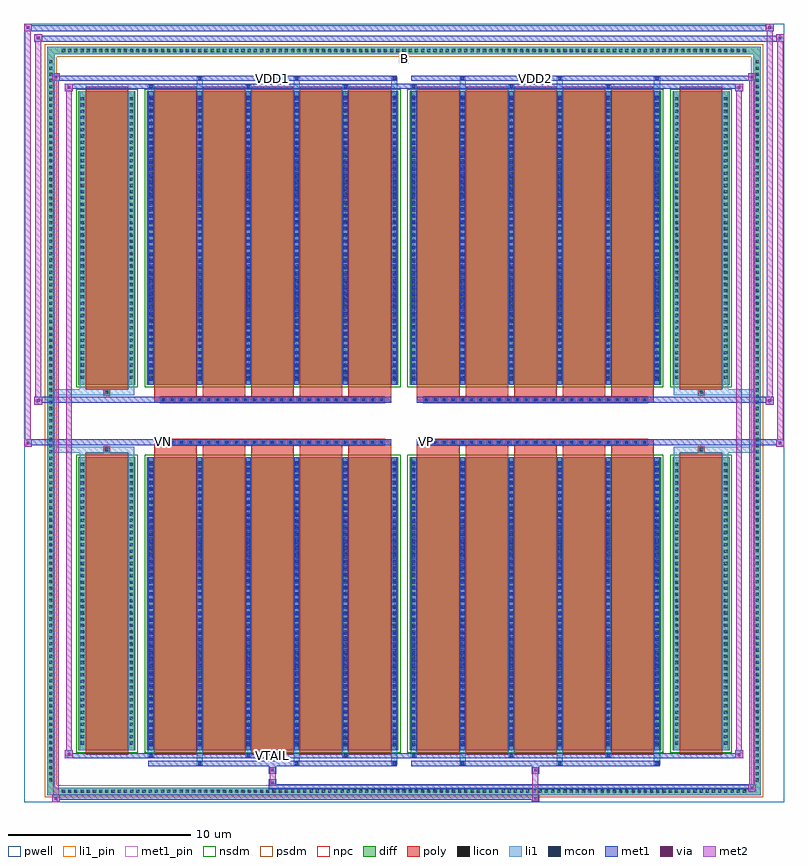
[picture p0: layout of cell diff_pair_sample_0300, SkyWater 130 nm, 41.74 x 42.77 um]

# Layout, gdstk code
import gdstk
lib = gdstk.Library(unit=1e-6, precision=5e-09)
def R(c, l, rs):  # rectangles x0, y0, x1, y1
    for r in rs: c.add(gdstk.rectangle(r[:2], r[2:], *l))
def A(c, l, x, y, w, h, nx, ny, dx, dy):  # array of equal rectangles
    R(c, l, [(x+i*dx, y+j*dy, x+i*dx+w, y+j*dy+h) for i in range(nx) for j in range(ny)])
def P(c, l, *ps):  # polygons
    for p in ps: c.add(gdstk.Polygon(p, *l))
pwell = (64, 44)
diff = (65, 20)
poly = (66, 20)
licon = (66, 44)
li1_pin = (67, 16)
li1 = (67, 20)
mcon = (67, 44)
met1_pin = (68, 16)
met1 = (68, 20)
via = (68, 44)
met2 = (69, 20)
nsdm = (93, 44)
psdm = (94, 20)
npc = (95, 20)

diff_pair_sample_0300 = lib.new_cell('diff_pair_sample_0300')
R(diff_pair_sample_0300, pwell, [(-20.87,-20.95,20.87,21.82), (-18.19,-19.14,-0.01,-0.8), (0.01,-19.14,18.19,-0.8), (-18.19,0.8,-0.01,19.14), (0.01,0.8,18.19,19.14)])
A(diff_pair_sample_0300, diff, -18.905, -20.55, 0.41, 0.41, 111, 2, 0.34, 40.69)
A(diff_pair_sample_0300, diff, -19.6, -19.925, 0.41, 0.41, 1, 117, 0, 0.34)
A(diff_pair_sample_0300, diff, 19.19, -19.925, 0.41, 0.41, 1, 117, 0, 0.34)
R(diff_pair_sample_0300, diff, [(-18.905,-20.55,18.905,-20.14), (-19.6,-19.925,-19.19,19.925), (19.19,-19.925,19.6,19.925), (-17.88,-18.095,-14.76,-1.985), (-14.12,-18.095,-0.32,-1.985), (0.32,-18.095,14.12,-1.985), (14.76,-18.095,17.88,-1.985), (-17.88,1.985,-14.76,18.095), (-14.12,1.985,-0.32,18.095), (0.32,1.985,14.12,18.095), (14.76,1.985,17.88,18.095), (-18.905,20.14,18.905,20.55)])
P(diff_pair_sample_0300, diff, [(19.6,20.55),(-19.6,20.55),(-19.6,-20.14),(-19.19,-20.14),(-19.19,20.14),(19.19,20.14),(19.19,-20.14),(-19.19,-20.14),(-19.6,-20.14),(-19.6,-20.55),(19.6,-20.55)])
A(diff_pair_sample_0300, poly, -13.73, -18.345, 2.34, 16.61, 5, 2, 2.67, 20.08)
A(diff_pair_sample_0300, poly, 0.71, -18.345, 2.34, 16.61, 5, 2, 2.67, 20.08)
A(diff_pair_sample_0300, poly, -13.73, -1.735, 2.34, 0.405, 5, 2, 2.67, 3.065)
A(diff_pair_sample_0300, poly, 0.71, -1.735, 2.34, 0.405, 5, 2, 2.67, 3.065)
A(diff_pair_sample_0300, poly, -13.385, -1.33, 0.33, 0.33, 25, 2, 0.5, 2.33)
A(diff_pair_sample_0300, poly, 1.055, -1.33, 0.33, 0.33, 25, 2, 0.5, 2.33)
R(diff_pair_sample_0300, poly, [(-17.49,-18.345,-15.15,-1.735), (15.15,-18.345,17.49,-1.735), (-16.485,-1.735,-16.155,-1.405), (-16.485,-1.735,-16.155,-1.405), (16.155,-1.735,16.485,-1.405), (16.155,-1.735,16.485,-1.405), (-13.73,-1.33,-0.71,-1), (0.71,-1.33,13.73,-1), (-13.73,1,-0.71,1.33), (0.71,1,13.73,1.33), (-16.485,1.405,-16.155,1.735), (-16.485,1.405,-16.155,1.735), (16.155,1.405,16.485,1.735), (16.155,1.405,16.485,1.735), (-17.49,1.735,-15.15,18.345), (15.15,1.735,17.49,18.345)])
A(diff_pair_sample_0300, licon, -18.785, -20.43, 0.17, 0.17, 111, 2, 0.34, 40.69)
A(diff_pair_sample_0300, licon, -19.48, -19.805, 0.17, 0.17, 1, 117, 0, 0.34)
A(diff_pair_sample_0300, licon, 19.31, -19.805, 0.17, 0.17, 1, 117, 0, 0.34)
A(diff_pair_sample_0300, licon, -17.74, -17.775, 0.17, 0.17, 1, 46, 0, 0.34)
A(diff_pair_sample_0300, licon, -15.07, -17.775, 0.17, 0.17, 1, 46, 0, 0.34)
A(diff_pair_sample_0300, licon, -13.98, -17.775, 0.17, 0.17, 6, 46, 2.67, 0.34)
A(diff_pair_sample_0300, licon, 0.46, -17.775, 0.17, 0.17, 6, 46, 2.67, 0.34)
A(diff_pair_sample_0300, licon, 14.9, -17.775, 0.17, 0.17, 1, 46, 0, 0.34)
A(diff_pair_sample_0300, licon, 17.57, -17.775, 0.17, 0.17, 1, 46, 0, 0.34)
A(diff_pair_sample_0300, licon, -13.305, -1.25, 0.17, 0.17, 25, 2, 0.5, 2.33)
A(diff_pair_sample_0300, licon, 1.135, -1.25, 0.17, 0.17, 25, 2, 0.5, 2.33)
A(diff_pair_sample_0300, licon, -17.74, 2.305, 0.17, 0.17, 1, 46, 0, 0.34)
A(diff_pair_sample_0300, licon, -15.07, 2.305, 0.17, 0.17, 1, 46, 0, 0.34)
A(diff_pair_sample_0300, licon, -13.98, 2.305, 0.17, 0.17, 6, 46, 2.67, 0.34)
A(diff_pair_sample_0300, licon, 0.46, 2.305, 0.17, 0.17, 6, 46, 2.67, 0.34)
A(diff_pair_sample_0300, licon, 14.9, 2.305, 0.17, 0.17, 1, 46, 0, 0.34)
A(diff_pair_sample_0300, licon, 17.57, 2.305, 0.17, 0.17, 1, 46, 0, 0.34)
R(diff_pair_sample_0300, licon, [(-16.405,-1.655,-16.235,-1.485), (16.235,-1.655,16.405,-1.485), (-16.405,1.485,-16.235,1.655), (16.235,1.485,16.405,1.655)])
R(diff_pair_sample_0300, li1_pin, [(-0.25,19.64,0.25,20.14)])
A(diff_pair_sample_0300, li1, -18.865, -20.51, 0.33, 0.33, 111, 2, 0.34, 40.69)
A(diff_pair_sample_0300, li1, -19.56, -19.885, 0.33, 0.33, 1, 117, 0, 0.34)
A(diff_pair_sample_0300, li1, 19.23, -19.885, 0.33, 0.33, 1, 117, 0, 0.34)
A(diff_pair_sample_0300, li1, -11.39, -18.9, 0.33, 0.805, 3, 2, 5.34, 36.995)
A(diff_pair_sample_0300, li1, -11.31, -18.9, 0.17, 0.17, 3, 2, 5.34, 37.63)
A(diff_pair_sample_0300, li1, 3.05, -18.9, 0.33, 0.805, 3, 2, 5.34, 36.995)
A(diff_pair_sample_0300, li1, 3.13, -18.9, 0.17, 0.17, 3, 2, 5.34, 37.63)
A(diff_pair_sample_0300, li1, -14.06, -18.47, 0.33, 0.375, 3, 2, 5.34, 36.565)
A(diff_pair_sample_0300, li1, -13.98, -18.47, 0.17, 0.17, 3, 2, 5.34, 36.77)
A(diff_pair_sample_0300, li1, 0.38, -18.47, 0.33, 0.375, 3, 2, 5.34, 36.565)
A(diff_pair_sample_0300, li1, 0.46, -18.47, 0.17, 0.17, 3, 2, 5.34, 36.77)
A(diff_pair_sample_0300, li1, -14.06, -18.095, 0.33, 16.11, 6, 2, 2.67, 20.08)
A(diff_pair_sample_0300, li1, 0.38, -18.095, 0.33, 16.11, 6, 2, 2.67, 20.08)
A(diff_pair_sample_0300, li1, -13.98, -17.865, 0.17, 0.17, 6, 44, 2.67, 0.36)
A(diff_pair_sample_0300, li1, -13.98, -17.865, 0.17, 15.65, 6, 2, 2.67, 20.08)
A(diff_pair_sample_0300, li1, 0.46, -17.865, 0.17, 0.17, 6, 44, 2.67, 0.36)
A(diff_pair_sample_0300, li1, 0.46, -17.865, 0.17, 15.65, 6, 2, 2.67, 20.08)
A(diff_pair_sample_0300, li1, -17.82, -17.855, 0.33, 0.33, 1, 46, 0, 0.34)
A(diff_pair_sample_0300, li1, -15.15, -17.855, 0.33, 0.33, 1, 46, 0, 0.34)
A(diff_pair_sample_0300, li1, -14.06, -17.855, 0.33, 0.33, 6, 46, 2.67, 0.34)
A(diff_pair_sample_0300, li1, 0.38, -17.855, 0.33, 0.33, 6, 46, 2.67, 0.34)
A(diff_pair_sample_0300, li1, 14.82, -17.855, 0.33, 0.33, 1, 46, 0, 0.34)
A(diff_pair_sample_0300, li1, 17.49, -17.855, 0.33, 0.33, 1, 46, 0, 0.34)
A(diff_pair_sample_0300, li1, -13.385, -1.33, 0.33, 0.33, 25, 2, 0.5, 2.33)
A(diff_pair_sample_0300, li1, 1.055, -1.33, 0.33, 0.33, 25, 2, 0.5, 2.33)
A(diff_pair_sample_0300, li1, -13.98, 2.215, 0.17, 0.17, 6, 44, 2.67, 0.36)
A(diff_pair_sample_0300, li1, 0.46, 2.215, 0.17, 0.17, 6, 44, 2.67, 0.36)
A(diff_pair_sample_0300, li1, -17.82, 2.225, 0.33, 0.33, 1, 46, 0, 0.34)
A(diff_pair_sample_0300, li1, -15.15, 2.225, 0.33, 0.33, 1, 46, 0, 0.34)
A(diff_pair_sample_0300, li1, -14.06, 2.225, 0.33, 0.33, 6, 46, 2.67, 0.34)
A(diff_pair_sample_0300, li1, 0.38, 2.225, 0.33, 0.33, 6, 46, 2.67, 0.34)
A(diff_pair_sample_0300, li1, 14.82, 2.225, 0.33, 0.33, 1, 46, 0, 0.34)
A(diff_pair_sample_0300, li1, 17.49, 2.225, 0.33, 0.33, 1, 46, 0, 0.34)
R(diff_pair_sample_0300, li1, [(-19.6,-20.55,-19.19,-20.14), (-19.6,-20.55,-19.19,-20.14), (-19.19,-20.55,19.19,-20.14), (19.19,-20.55,19.6,-20.14), (19.19,-20.55,19.6,-20.14), (-19.6,-20.14,-19.19,20.14), (19.19,-20.14,19.6,20.14), (-17.82,-18.095,-17.49,-1.985), (-15.15,-18.095,-14.82,-1.985), (14.82,-18.095,15.15,-1.985), (17.49,-18.095,17.82,-1.985), (-17.82,-1.985,-17.49,-1.405), (-15.15,-1.985,-14.82,-1.405), (14.82,-1.985,15.15,-1.405), (17.49,-1.985,17.82,-1.405), (-19.6,-1.735,-16.485,-1.405), (-17.82,-1.735,-16.485,-1.405), (-16.485,-1.735,-16.155,-1.405), (-16.155,-1.735,-14.82,-1.405), (14.82,-1.735,16.155,-1.405), (16.155,-1.735,16.485,-1.405), (16.155,-1.735,19.6,-1.405), (16.485,-1.735,17.82,-1.405), (-19.6,1.405,-16.485,1.735), (-17.82,1.405,-16.485,1.735), (-17.82,1.405,-17.49,1.985), (-16.485,1.405,-16.155,1.735), (-16.155,1.405,-14.82,1.735), (-15.15,1.405,-14.82,1.985), (14.82,1.405,16.155,1.735), (14.82,1.405,15.15,1.985), (16.155,1.405,16.485,1.735), (16.155,1.405,19.6,1.735), (16.485,1.405,17.82,1.735), (17.49,1.405,17.82,1.985), (-17.82,1.985,-17.49,18.095), (-15.15,1.985,-14.82,18.095), (14.82,1.985,15.15,18.095), (17.49,1.985,17.82,18.095), (-19.6,20.14,-19.19,20.55), (-19.6,20.14,-19.19,20.55), (-19.19,20.14,19.19,20.55), (19.19,20.14,19.6,20.55), (19.19,20.14,19.6,20.55)])
A(diff_pair_sample_0300, mcon, -11.31, -18.9, 0.17, 0.17, 3, 2, 5.34, 37.63)
A(diff_pair_sample_0300, mcon, 3.13, -18.9, 0.17, 0.17, 3, 2, 5.34, 37.63)
A(diff_pair_sample_0300, mcon, -13.98, -18.47, 0.17, 0.17, 3, 2, 5.34, 36.77)
A(diff_pair_sample_0300, mcon, 0.46, -18.47, 0.17, 0.17, 3, 2, 5.34, 36.77)
A(diff_pair_sample_0300, mcon, -13.98, -17.865, 0.17, 0.17, 6, 44, 2.67, 0.36)
A(diff_pair_sample_0300, mcon, 0.46, -17.865, 0.17, 0.17, 6, 44, 2.67, 0.36)
A(diff_pair_sample_0300, mcon, -13.305, -1.25, 0.17, 0.17, 25, 2, 0.5, 2.33)
A(diff_pair_sample_0300, mcon, 1.135, -1.25, 0.17, 0.17, 25, 2, 0.5, 2.33)
A(diff_pair_sample_0300, mcon, -13.98, 2.215, 0.17, 0.17, 6, 44, 2.67, 0.36)
A(diff_pair_sample_0300, mcon, 0.46, 2.215, 0.17, 0.17, 6, 44, 2.67, 0.36)
R(diff_pair_sample_0300, met1_pin, [(-7.355,-18.51,-7.085,-18.24), (-13.355,-1.29,-13.085,-1.02), (1.085,-1.29,1.355,-1.02), (-7.355,18.69,-7.085,18.96), (7.085,18.69,7.355,18.96)])
A(diff_pair_sample_0300, met1, -11.37, -18.96, 0.29, 0.29, 3, 2, 5.34, 37.63)
A(diff_pair_sample_0300, met1, 3.07, -18.96, 0.29, 0.29, 3, 2, 5.34, 37.63)
A(diff_pair_sample_0300, met1, -14.04, -18.53, 0.29, 0.29, 3, 2, 5.34, 36.77)
A(diff_pair_sample_0300, met1, 0.4, -18.53, 0.29, 0.29, 3, 2, 5.34, 36.77)
A(diff_pair_sample_0300, met1, -14.04, -18.095, 0.29, 16.11, 6, 2, 2.67, 20.08)
A(diff_pair_sample_0300, met1, 0.4, -18.095, 0.29, 16.11, 6, 2, 2.67, 20.08)
A(diff_pair_sample_0300, met1, -14.04, -17.925, 0.29, 0.29, 6, 44, 2.67, 0.36)
A(diff_pair_sample_0300, met1, 0.4, -17.925, 0.29, 0.29, 6, 44, 2.67, 0.36)
A(diff_pair_sample_0300, met1, -13.365, -1.31, 0.29, 0.29, 25, 2, 0.5, 2.33)
A(diff_pair_sample_0300, met1, 1.075, -1.31, 0.29, 0.29, 25, 2, 0.5, 2.33)
A(diff_pair_sample_0300, met1, -14.04, 2.155, 0.29, 0.29, 6, 44, 2.67, 0.36)
A(diff_pair_sample_0300, met1, 0.4, 2.155, 0.29, 0.29, 6, 44, 2.67, 0.36)
R(diff_pair_sample_0300, met1, [(-19.33,-20.95,-18.9,-20.52), (7.005,-20.95,7.435,-20.52), (-19.33,-20.81,7.435,-20.52), (18.9,-20.38,19.33,-19.95), (-7.435,-20.24,19.33,-19.95), (-7.435,-20.1,-7.005,-19.67), (-7.435,-19.39,-7.005,-18.96), (7.005,-19.39,7.435,-18.96), (-14.04,-18.96,-0.4,-18.67), (0.4,-18.96,14.04,-18.67), (-18.62,-18.53,-18.19,-18.1), (-18.62,-18.53,-14.04,-18.24), (-14.04,-18.53,-0.4,-18.24), (-0.4,-18.53,0.4,-18.24), (0.4,-18.53,14.04,-18.24), (14.04,-18.53,18.62,-18.24), (18.19,-18.53,18.62,-18.1), (-20.87,-1.43,-20.44,-1), (20.44,-1.43,20.87,-1), (-20.87,-1.33,-0.71,-1), (-13.73,-1.33,-0.71,-1), (0.71,-1.33,13.73,-1), (0.71,-1.33,20.87,-1), (-20.3,0.9,-19.87,1.33), (19.87,0.9,20.3,1.33), (-20.3,1,-13.73,1.33), (-13.73,1,-0.71,1.33), (0.71,1,13.73,1.33), (13.73,1,20.3,1.33), (-18.62,18.1,-18.19,18.53), (18.19,18.1,18.62,18.53), (-18.62,18.24,-14.04,18.53), (-14.04,18.24,-0.4,18.53), (-0.4,18.24,0.4,18.53), (0.4,18.24,14.04,18.53), (14.04,18.24,18.62,18.53), (-19.33,18.67,-18.9,19.1), (-19.33,18.67,-14.04,18.96), (-14.04,18.67,-0.4,18.96), (0.4,18.67,14.04,18.96), (14.04,18.67,19.33,18.96), (18.9,18.67,19.33,19.1), (-20.3,20.82,-19.87,21.25), (-20.3,20.82,-18.19,21.15), (-18.19,20.82,18.19,21.15), (18.19,20.82,20.87,21.15), (20.44,20.82,20.87,21.25), (-20.87,21.39,-20.44,21.82), (-20.87,21.39,-18.19,21.72), (-18.19,21.39,18.19,21.72), (18.19,21.39,20.3,21.72), (19.87,21.39,20.3,21.82)])
R(diff_pair_sample_0300, via, [(-19.19,-20.81,-19.04,-20.66), (7.145,-20.81,7.295,-20.66), (19.04,-20.24,19.19,-20.09), (-7.295,-19.96,-7.145,-19.81), (-7.295,-19.25,-7.145,-19.1), (7.145,-19.25,7.295,-19.1), (-18.48,-18.39,-18.33,-18.24), (18.33,-18.39,18.48,-18.24), (-20.73,-1.29,-20.58,-1.14), (20.58,-1.29,20.73,-1.14), (-20.16,1.04,-20.01,1.19), (20.01,1.04,20.16,1.19), (-18.48,18.24,-18.33,18.39), (18.33,18.24,18.48,18.39), (-19.19,18.81,-19.04,18.96), (19.04,18.81,19.19,18.96), (-20.16,20.96,-20.01,21.11), (20.58,20.96,20.73,21.11), (-20.73,21.53,-20.58,21.68), (20.01,21.53,20.16,21.68)])
R(diff_pair_sample_0300, met2, [(-19.33,-20.95,-18.9,-20.52), (-19.26,-20.95,-18.97,19.1), (-18.97,-20.95,-18.9,-20.52), (-19.28,-20.9,-18.95,-20.57), (7.055,-20.9,7.385,-20.57), (7.055,-20.57,7.385,-19.34), (18.9,-20.38,19.33,-19.95), (18.97,-20.38,19.26,19.1), (19.26,-20.38,19.33,-19.95), (18.95,-20.33,19.28,-20), (-7.385,-20.05,-7.055,-19.72), (-7.385,-19.72,-7.055,-19.34), (-7.385,-19.34,-7.055,-19.01), (7.055,-19.34,7.385,-19.01), (-18.62,-18.53,-18.19,-18.1), (-18.55,-18.53,-18.26,18.53), (-18.26,-18.53,-18.19,-18.1), (18.19,-18.53,18.62,-18.1), (18.26,-18.53,18.55,18.53), (18.55,-18.53,18.62,-18.1), (-18.57,-18.48,-18.24,-18.15), (18.24,-18.48,18.57,-18.15), (-20.87,-1.43,-20.44,-1), (-20.82,-1.43,-20.49,21.82), (-20.49,-1.43,-20.44,-1), (20.44,-1.43,20.87,-1), (20.49,-1.43,20.82,21.25), (20.82,-1.43,20.87,-1), (-20.82,-1.38,-20.49,-1.05), (20.49,-1.38,20.82,-1.05), (-20.3,0.9,-19.87,1.33), (-20.25,0.9,-19.92,21.25), (-19.92,0.9,-19.87,1.33), (19.87,0.9,20.3,1.33), (19.92,0.9,20.25,21.82), (20.25,0.9,20.3,1.33), (-20.25,0.95,-19.92,1.28), (19.92,0.95,20.25,1.28), (-18.62,18.1,-18.19,18.53), (-18.26,18.1,-18.19,18.53), (18.19,18.1,18.62,18.53), (18.55,18.1,18.62,18.53), (-18.57,18.15,-18.24,18.48), (18.24,18.15,18.57,18.48), (-19.33,18.67,-18.9,19.1), (-18.97,18.67,-18.9,19.1), (18.9,18.67,19.33,19.1), (19.26,18.67,19.33,19.1), (-19.28,18.72,-18.95,19.05), (18.95,18.72,19.28,19.05), (-20.3,20.82,-19.87,21.25), (-19.92,20.82,-19.87,21.25), (20.44,20.82,20.87,21.25), (20.82,20.82,20.87,21.25), (-20.25,20.87,-19.92,21.2), (20.49,20.87,20.82,21.2), (-20.87,21.39,-20.44,21.82), (-20.49,21.39,-20.44,21.82), (19.87,21.39,20.3,21.82), (20.25,21.39,20.3,21.82), (-20.82,21.44,-20.49,21.77), (19.92,21.44,20.25,21.77)])
R(diff_pair_sample_0300, nsdm, [(-18.01,-18.225,-14.63,-1.855), (-14.25,-18.225,-0.19,-1.855), (0.19,-18.225,14.25,-1.855), (14.63,-18.225,18.01,-1.855), (-18.01,1.855,-14.63,18.225), (-14.25,1.855,-0.19,18.225), (0.19,1.855,14.25,18.225), (14.63,1.855,18.01,18.225)])
P(diff_pair_sample_0300, psdm, [(19.73,20.68),(-19.73,20.68),(-19.73,-20.01),(-19.06,-20.01),(-19.06,20.01),(19.06,20.01),(19.06,-20.01),(-19.06,-20.01),(-19.73,-20.01),(-19.73,-20.68),(19.73,-20.68)])
A(diff_pair_sample_0300, npc, -13.405, -1.35, 0.37, 0.37, 25, 2, 0.5, 2.33)
A(diff_pair_sample_0300, npc, 1.035, -1.35, 0.37, 0.37, 25, 2, 0.5, 2.33)
R(diff_pair_sample_0300, npc, [(-16.505,-1.755,-16.135,-1.385), (16.135,-1.755,16.505,-1.385), (-13.405,-1.35,-12.535,-0.98), (-13.405,-1.35,-12.535,-0.98), (-12.905,-1.35,-12.035,-0.98), (-12.905,-1.35,-12.035,-0.98), (-12.405,-1.35,-11.535,-0.98), (-12.405,-1.35,-11.535,-0.98), (-11.905,-1.35,-11.035,-0.98), (-11.905,-1.35,-11.035,-0.98), (-11.405,-1.35,-10.535,-0.98), (-11.405,-1.35,-10.535,-0.98), (-10.905,-1.35,-10.035,-0.98), (-10.905,-1.35,-10.035,-0.98), (-10.405,-1.35,-9.535,-0.98), (-10.405,-1.35,-9.535,-0.98), (-9.905,-1.35,-9.035,-0.98), (-9.905,-1.35,-9.035,-0.98), (-9.405,-1.35,-8.535,-0.98), (-9.405,-1.35,-8.535,-0.98), (-8.905,-1.35,-8.035,-0.98), (-8.905,-1.35,-8.035,-0.98), (-8.405,-1.35,-7.535,-0.98), (-8.405,-1.35,-7.535,-0.98), (-7.905,-1.35,-7.035,-0.98), (-7.905,-1.35,-7.035,-0.98), (-7.405,-1.35,-6.535,-0.98), (-7.405,-1.35,-6.535,-0.98), (-6.905,-1.35,-6.035,-0.98), (-6.905,-1.35,-6.035,-0.98), (-6.405,-1.35,-5.535,-0.98), (-6.405,-1.35,-5.535,-0.98), (-5.905,-1.35,-5.035,-0.98), (-5.905,-1.35,-5.035,-0.98), (-5.405,-1.35,-4.535,-0.98), (-5.405,-1.35,-4.535,-0.98), (-4.905,-1.35,-4.035,-0.98), (-4.905,-1.35,-4.035,-0.98), (-4.405,-1.35,-3.535,-0.98), (-4.405,-1.35,-3.535,-0.98), (-3.905,-1.35,-3.035,-0.98), (-3.905,-1.35,-3.035,-0.98), (-3.405,-1.35,-2.535,-0.98), (-3.405,-1.35,-2.535,-0.98), (-2.905,-1.35,-2.035,-0.98), (-2.905,-1.35,-2.035,-0.98), (-2.405,-1.35,-1.535,-0.98), (-2.405,-1.35,-1.535,-0.98), (-1.905,-1.35,-1.035,-0.98), (-1.905,-1.35,-1.035,-0.98), (1.035,-1.35,1.905,-0.98), (1.035,-1.35,1.905,-0.98), (1.535,-1.35,2.405,-0.98), (1.535,-1.35,2.405,-0.98), (2.035,-1.35,2.905,-0.98), (2.035,-1.35,2.905,-0.98), (2.535,-1.35,3.405,-0.98), (2.535,-1.35,3.405,-0.98), (3.035,-1.35,3.905,-0.98), (3.035,-1.35,3.905,-0.98), (3.535,-1.35,4.405,-0.98), (3.535,-1.35,4.405,-0.98), (4.035,-1.35,4.905,-0.98), (4.035,-1.35,4.905,-0.98), (4.535,-1.35,5.405,-0.98), (4.535,-1.35,5.405,-0.98), (5.035,-1.35,5.905,-0.98), (5.035,-1.35,5.905,-0.98), (5.535,-1.35,6.405,-0.98), (5.535,-1.35,6.405,-0.98), (6.035,-1.35,6.905,-0.98), (6.035,-1.35,6.905,-0.98), (6.535,-1.35,7.405,-0.98), (6.535,-1.35,7.405,-0.98), (7.035,-1.35,7.905,-0.98), (7.035,-1.35,7.905,-0.98), (7.535,-1.35,8.405,-0.98), (7.535,-1.35,8.405,-0.98), (8.035,-1.35,8.905,-0.98), (8.035,-1.35,8.905,-0.98), (8.535,-1.35,9.405,-0.98), (8.535,-1.35,9.405,-0.98), (9.035,-1.35,9.905,-0.98), (9.035,-1.35,9.905,-0.98), (9.535,-1.35,10.405,-0.98), (9.535,-1.35,10.405,-0.98), (10.035,-1.35,10.905,-0.98), (10.035,-1.35,10.905,-0.98), (10.535,-1.35,11.405,-0.98), (10.535,-1.35,11.405,-0.98), (11.035,-1.35,11.905,-0.98), (11.035,-1.35,11.905,-0.98), (11.535,-1.35,12.405,-0.98), (11.535,-1.35,12.405,-0.98), (12.035,-1.35,12.905,-0.98), (12.035,-1.35,12.905,-0.98), (12.535,-1.35,13.405,-0.98), (12.535,-1.35,13.405,-0.98), (-13.405,0.98,-12.535,1.35), (-13.405,0.98,-12.535,1.35), (-12.905,0.98,-12.035,1.35), (-12.905,0.98,-12.035,1.35), (-12.405,0.98,-11.535,1.35), (-12.405,0.98,-11.535,1.35), (-11.905,0.98,-11.035,1.35), (-11.905,0.98,-11.035,1.35), (-11.405,0.98,-10.535,1.35), (-11.405,0.98,-10.535,1.35), (-10.905,0.98,-10.035,1.35), (-10.905,0.98,-10.035,1.35), (-10.405,0.98,-9.535,1.35), (-10.405,0.98,-9.535,1.35), (-9.905,0.98,-9.035,1.35), (-9.905,0.98,-9.035,1.35), (-9.405,0.98,-8.535,1.35), (-9.405,0.98,-8.535,1.35), (-8.905,0.98,-8.035,1.35), (-8.905,0.98,-8.035,1.35), (-8.405,0.98,-7.535,1.35), (-8.405,0.98,-7.535,1.35), (-7.905,0.98,-7.035,1.35), (-7.905,0.98,-7.035,1.35), (-7.405,0.98,-6.535,1.35), (-7.405,0.98,-6.535,1.35), (-6.905,0.98,-6.035,1.35), (-6.905,0.98,-6.035,1.35), (-6.405,0.98,-5.535,1.35), (-6.405,0.98,-5.535,1.35), (-5.905,0.98,-5.035,1.35), (-5.905,0.98,-5.035,1.35), (-5.405,0.98,-4.535,1.35), (-5.405,0.98,-4.535,1.35), (-4.905,0.98,-4.035,1.35), (-4.905,0.98,-4.035,1.35), (-4.405,0.98,-3.535,1.35), (-4.405,0.98,-3.535,1.35), (-3.905,0.98,-3.035,1.35), (-3.905,0.98,-3.035,1.35), (-3.405,0.98,-2.535,1.35), (-3.405,0.98,-2.535,1.35), (-2.905,0.98,-2.035,1.35), (-2.905,0.98,-2.035,1.35), (-2.405,0.98,-1.535,1.35), (-2.405,0.98,-1.535,1.35), (-1.905,0.98,-1.035,1.35), (-1.905,0.98,-1.035,1.35), (1.035,0.98,1.905,1.35), (1.035,0.98,1.905,1.35), (1.535,0.98,2.405,1.35), (1.535,0.98,2.405,1.35), (2.035,0.98,2.905,1.35), (2.035,0.98,2.905,1.35), (2.535,0.98,3.405,1.35), (2.535,0.98,3.405,1.35), (3.035,0.98,3.905,1.35), (3.035,0.98,3.905,1.35), (3.535,0.98,4.405,1.35), (3.535,0.98,4.405,1.35), (4.035,0.98,4.905,1.35), (4.035,0.98,4.905,1.35), (4.535,0.98,5.405,1.35), (4.535,0.98,5.405,1.35), (5.035,0.98,5.905,1.35), (5.035,0.98,5.905,1.35), (5.535,0.98,6.405,1.35), (5.535,0.98,6.405,1.35), (6.035,0.98,6.905,1.35), (6.035,0.98,6.905,1.35), (6.535,0.98,7.405,1.35), (6.535,0.98,7.405,1.35), (7.035,0.98,7.905,1.35), (7.035,0.98,7.905,1.35), (7.535,0.98,8.405,1.35), (7.535,0.98,8.405,1.35), (8.035,0.98,8.905,1.35), (8.035,0.98,8.905,1.35), (8.535,0.98,9.405,1.35), (8.535,0.98,9.405,1.35), (9.035,0.98,9.905,1.35), (9.035,0.98,9.905,1.35), (9.535,0.98,10.405,1.35), (9.535,0.98,10.405,1.35), (10.035,0.98,10.905,1.35), (10.035,0.98,10.905,1.35), (10.535,0.98,11.405,1.35), (10.535,0.98,11.405,1.35), (11.035,0.98,11.905,1.35), (11.035,0.98,11.905,1.35), (11.535,0.98,12.405,1.35), (11.535,0.98,12.405,1.35), (12.035,0.98,12.905,1.35), (12.035,0.98,12.905,1.35), (12.535,0.98,13.405,1.35), (12.535,0.98,13.405,1.35), (-16.505,1.385,-16.135,1.755), (16.135,1.385,16.505,1.755)])
diff_pair_sample_0300.add(gdstk.Label('VTAIL', (-7.22,-18.375), layer=68, texttype=5))
diff_pair_sample_0300.add(gdstk.Label('VN', (-13.22,-1.155), layer=68, texttype=5))
diff_pair_sample_0300.add(gdstk.Label('VP', (1.22,-1.155), layer=68, texttype=5))
diff_pair_sample_0300.add(gdstk.Label('B', (0,19.89), layer=67, texttype=5))
diff_pair_sample_0300.add(gdstk.Label('VDD2', (7.22,18.825), layer=68, texttype=5))
diff_pair_sample_0300.add(gdstk.Label('VDD1', (-7.22,18.825), layer=68, texttype=5))

lib.write_gds('diff_pair_sample_0300.gds')
